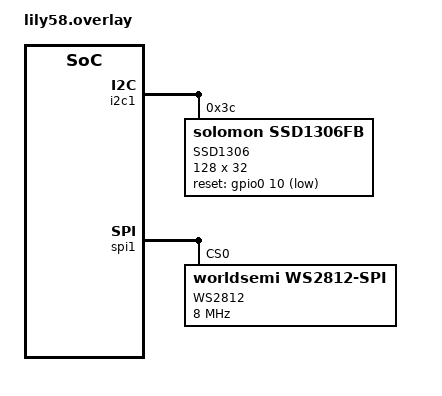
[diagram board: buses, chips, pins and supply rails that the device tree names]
&i2c1 {
    status = "okay";
    ssd1306: ssd1306@3c {
        compatible = "solomon,ssd1306fb";
        reg = <0x3C>;
        label = "SSD1306";
        width = <128>;
        height = <32>;
        segment-offset = <0>;
        page-offset = <0>;
        display-offset = <0>;
        multiplex-ratio = <31>;
        reset-gpios = <&gpio0 10 GPIO_ACTIVE_LOW>;
    };
};

&spi1 {
    status = "okay";
    ws2812: ws2812@0 {
        compatible = "worldsemi,ws2812-spi";
        label = "WS2812";
        spi-max-frequency = <8000000>;
        reg = <0>;
        chain-length = <12>;
    };
};
